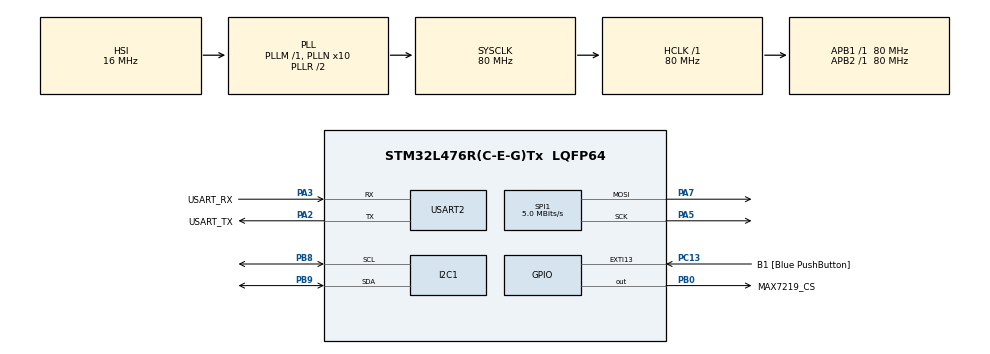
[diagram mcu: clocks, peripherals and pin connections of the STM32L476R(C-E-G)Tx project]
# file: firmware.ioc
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I2C1.Timing=0x10D19CE4
Mcu.Family=STM32L4
Mcu.Name=STM32L476R(C-E-G)Tx
Mcu.Package=LQFP64
NVIC.I2C1_ER_IRQn=true\:0\:0\:false\:false\:true\:true\:true\:true
NVIC.I2C1_EV_IRQn=true\:0\:0\:false\:false\:true\:true\:true\:true
NVIC.PriorityGroup=NVIC_PRIORITYGROUP_4
NVIC.SPI1_IRQn=true\:0\:0\:false\:false\:true\:true\:true\:true
NVIC.USART2_IRQn=true\:0\:0\:false\:false\:true\:true\:true\:true
PA13\ (JTMS-SWDIO).GPIO_Label=TMS
PA13\ (JTMS-SWDIO).Mode=Serial_Wire
PA13\ (JTMS-SWDIO).Signal=SYS_JTMS-SWDIO
PA14\ (JTCK-SWCLK).GPIO_Label=TCK
PA14\ (JTCK-SWCLK).Mode=Serial_Wire
PA14\ (JTCK-SWCLK).Signal=SYS_JTCK-SWCLK
PA2.GPIO_Label=USART_TX
PA2.GPIO_Mode=GPIO_MODE_AF_PP
PA2.GPIO_PuPd=GPIO_NOPULL
PA2.GPIO_Speed=GPIO_SPEED_FREQ_VERY_HIGH
PA2.Mode=Asynchronous
PA2.Signal=USART2_TX
PA3.GPIO_Label=USART_RX
PA3.GPIO_Mode=GPIO_MODE_AF_PP
PA3.GPIO_PuPd=GPIO_NOPULL
PA3.GPIO_Speed=GPIO_SPEED_FREQ_VERY_HIGH
PA3.Mode=Asynchronous
PA3.Signal=USART2_RX
PA5.Mode=TX_Only_Simplex_Unidirect_Master
PA5.Signal=SPI1_SCK
PA7.Mode=TX_Only_Simplex_Unidirect_Master
PA7.Signal=SPI1_MOSI
PB0.GPIO_Label=MAX7219_CS
PB0.PinState=GPIO_PIN_SET
PB0.Signal=GPIO_Output
PB3\ (JTDO-TRACESWO).GPIO_Label=SWO
PB3\ (JTDO-TRACESWO).Signal=SYS_JTDO-SWO
PB8.Mode=I2C
PB8.Signal=I2C1_SCL
PB9.Mode=I2C
PB9.Signal=I2C1_SDA
PC13.GPIO_Label=B1 [Blue PushButton]
PC13.GPIO_ModeDefaultEXTI=GPIO_MODE_IT_FALLING
PC13.GPIO_PuPd=GPIO_NOPULL
PC13.Signal=GPXTI13
PC14-OSC32_IN\ (PC14).Mode=LSE-External-Oscillator
PC14-OSC32_IN\ (PC14).Signal=RCC_OSC32_IN
PC15-OSC32_OUT\ (PC15).Mode=LSE-External-Oscillator
PC15-OSC32_OUT\ (PC15).Signal=RCC_OSC32_OUT
PH0-OSC_IN\ (PH0).Signal=RCC_OSC_IN
PH1-OSC_OUT\ (PH1).Signal=RCC_OSC_OUT
ProjectManager.HeapSize=0x200
ProjectManager.StackSize=0x400
ProjectManager.TargetToolchain=STM32CubeIDE
RCC.ADCFreq_Value=64000000
RCC.AHBFreq_Value=80000000
RCC.APB1Freq_Value=80000000
RCC.APB1TimFreq_Value=80000000
RCC.APB2Freq_Value=80000000
RCC.APB2TimFreq_Value=80000000
RCC.CortexFreq_Value=80000000
RCC.HCLKFreq_Value=80000000
RCC.HSE_VALUE=8000000
RCC.HSI_VALUE=16000000
RCC.MSI_VALUE=4000000
RCC.PLLN=10
RCC.PLLSourceVirtual=RCC_PLLSOURCE_HSI
RCC.PREFETCH_ENABLE=1
RCC.SYSCLKFreq_VALUE=80000000
RCC.SYSCLKSource=RCC_SYSCLKSOURCE_PLLCLK
RCC.USBFreq_Value=64000000
RCC.VCOOutputFreq_Value=160000000
SPI1.BaudRatePrescaler=SPI_BAUDRATEPRESCALER_16
SPI1.CalculateBaudRate=5.0 MBits/s
SPI1.Direction=SPI_DIRECTION_2LINES
SPI1.Mode=SPI_MODE_MASTER
SPI1.VirtualType=VM_MASTER
USART2.VirtualMode-Asynchronous=VM_ASYNC
board=NUCLEO-L476RG

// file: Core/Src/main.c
/* USER CODE BEGIN Header */
/**
  ******************************************************************************
  * @file           : main.c
  * @brief          : Main program body
  ******************************************************************************
  * @attention
  *
  * Copyright (c) 2026 STMicroelectronics.
  * All rights reserved.
  *
  * This software is licensed under terms that can be found in the LICENSE file
  * in the root directory of this software component.
  * If no LICENSE file comes with this software, it is provided AS-IS.
  *
  ******************************************************************************
  */
/* USER CODE END Header */
#include "main.h"

/* USER CODE BEGIN Includes */
#include <stdio.h>
#include <stdlib.h>
#include <string.h>
/* USER CODE END Includes */

I2C_HandleTypeDef hi2c1;

SPI_HandleTypeDef hspi1;

UART_HandleTypeDef huart2;

/* USER CODE BEGIN PV */
PCF8591_HandleTypeDef hpcf;
MAX7219_HandleTypeDef hmax;

DisplayMode_t current_mode = MODE_IDLE;
uint8_t current_sensor_value = 0;
uint32_t last_toggle_tick = 0;
uint8_t toggle_state = 0; // 0 = Display Letter, 1 = Display Sign (+/-)

uint8_t rx_byte = 0;
char rx_buffer[64];
uint8_t rx_index = 0;
/* USER CODE END PV */

void SystemClock_Config(void);
static void MX_GPIO_Init(void);
static void MX_USART2_UART_Init(void);
static void MX_I2C1_Init(void);
static void MX_SPI1_Init(void);

int main(void)
{

  /* MCU Configuration--------------------------------------------------------*/

  /* Reset of all peripherals, Initializes the Flash interface and the Systick. */
  HAL_Init();

  /* Configure the system clock */
  SystemClock_Config();

  /* Initialize all configured peripherals */
  MX_GPIO_Init();
  MX_USART2_UART_Init();
  MX_I2C1_Init();
  MX_SPI1_Init();
  /* USER CODE BEGIN 2 */
  PCF8591_Init(&hpcf, &hi2c1);
  MAX7219_Init(&hmax, &hspi1, MAX7219_CS_GPIO_Port, MAX7219_CS_Pin);

  // Start UART non-blocking receive
  HAL_UART_Receive_IT(&huart2, &rx_byte, 1);

  last_toggle_tick = HAL_GetTick();
  /* USER CODE END 2 */

  /* Infinite loop */
  /* USER CODE BEGIN WHILE */
  while (1)
  {
    // Alternates the display character every 500 ms in a non-blocking way
    if (current_mode != MODE_IDLE) {
        uint32_t current_tick = HAL_GetTick();
        if (current_tick - last_toggle_tick >= 500) {
            last_toggle_tick = current_tick;
            toggle_state = !toggle_state;
            Update_Display_State();
        }
    }
    /* USER CODE END WHILE */

  }
}

void SystemClock_Config(void)
{
  RCC_OscInitTypeDef RCC_OscInitStruct = {0};
  RCC_ClkInitTypeDef RCC_ClkInitStruct = {0};

  /** Configure the main internal regulator output voltage
  */
  if (HAL_PWREx_ControlVoltageScaling(PWR_REGULATOR_VOLTAGE_SCALE1) != HAL_OK)
  {
    Error_Handler();
  }

  /** Initializes the RCC Oscillators according to the specified parameters
  * in the RCC_OscInitTypeDef structure.
  */
  RCC_OscInitStruct.OscillatorType = RCC_OSCILLATORTYPE_HSI;
  RCC_OscInitStruct.HSIState = RCC_HSI_ON;
  RCC_OscInitStruct.HSICalibrationValue = RCC_HSICALIBRATION_DEFAULT;
  RCC_OscInitStruct.PLL.PLLState = RCC_PLL_ON;
  RCC_OscInitStruct.PLL.PLLSource = RCC_PLLSOURCE_HSI;
  RCC_OscInitStruct.PLL.PLLM = 1;
  RCC_OscInitStruct.PLL.PLLN = 10;
  RCC_OscInitStruct.PLL.PLLP = RCC_PLLP_DIV7;
  RCC_OscInitStruct.PLL.PLLQ = RCC_PLLQ_DIV2;
  RCC_OscInitStruct.PLL.PLLR = RCC_PLLR_DIV2;
  if (HAL_RCC_OscConfig(&RCC_OscInitStruct) != HAL_OK)
  {
    Error_Handler();
  }

  /** Initializes the CPU, AHB and APB buses clocks
  */
  RCC_ClkInitStruct.ClockType = RCC_CLOCKTYPE_HCLK|RCC_CLOCKTYPE_SYSCLK
                              |RCC_CLOCKTYPE_PCLK1|RCC_CLOCKTYPE_PCLK2;
  RCC_ClkInitStruct.SYSCLKSource = RCC_SYSCLKSOURCE_PLLCLK;
  RCC_ClkInitStruct.AHBCLKDivider = RCC_SYSCLK_DIV1;
  RCC_ClkInitStruct.APB1CLKDivider = RCC_HCLK_DIV1;
  RCC_ClkInitStruct.APB2CLKDivider = RCC_HCLK_DIV1;

  if (HAL_RCC_ClockConfig(&RCC_ClkInitStruct, FLASH_LATENCY_4) != HAL_OK)
  {
    Error_Handler();
  }
}

static void MX_I2C1_Init(void)
{

  hi2c1.Instance = I2C1;
  hi2c1.Init.Timing = 0x10D19CE4;
  hi2c1.Init.OwnAddress1 = 0;
  hi2c1.Init.AddressingMode = I2C_ADDRESSINGMODE_7BIT;
  hi2c1.Init.DualAddressMode = I2C_DUALADDRESS_DISABLE;
  hi2c1.Init.OwnAddress2 = 0;
  hi2c1.Init.OwnAddress2Masks = I2C_OA2_NOMASK;
  hi2c1.Init.GeneralCallMode = I2C_GENERALCALL_DISABLE;
  hi2c1.Init.NoStretchMode = I2C_NOSTRETCH_DISABLE;
  if (HAL_I2C_Init(&hi2c1) != HAL_OK)
  {
    Error_Handler();
  }

  /** Configure Analogue filter
  */
  if (HAL_I2CEx_ConfigAnalogFilter(&hi2c1, I2C_ANALOGFILTER_ENABLE) != HAL_OK)
  {
    Error_Handler();
  }

  /** Configure Digital filter
  */
  if (HAL_I2CEx_ConfigDigitalFilter(&hi2c1, 0) != HAL_OK)
  {
    Error_Handler();
  }

}

static void MX_SPI1_Init(void)
{

  /* SPI1 parameter configuration*/
  hspi1.Instance = SPI1;
  hspi1.Init.Mode = SPI_MODE_MASTER;
  hspi1.Init.Direction = SPI_DIRECTION_2LINES;
  hspi1.Init.DataSize = SPI_DATASIZE_8BIT;
  hspi1.Init.CLKPolarity = SPI_POLARITY_LOW;
  hspi1.Init.CLKPhase = SPI_PHASE_1EDGE;
  hspi1.Init.NSS = SPI_NSS_SOFT;
  hspi1.Init.BaudRatePrescaler = SPI_BAUDRATEPRESCALER_16;
  hspi1.Init.FirstBit = SPI_FIRSTBIT_MSB;
  hspi1.Init.TIMode = SPI_TIMODE_DISABLE;
  hspi1.Init.CRCCalculation = SPI_CRCCALCULATION_DISABLE;
  hspi1.Init.CRCPolynomial = 7;
  hspi1.Init.CRCLength = SPI_CRC_LENGTH_DATASIZE;
  hspi1.Init.NSSPMode = SPI_NSS_PULSE_ENABLE;
  if (HAL_SPI_Init(&hspi1) != HAL_OK)
  {
    Error_Handler();
  }

}

static void MX_USART2_UART_Init(void)
{

  huart2.Instance = USART2;
  huart2.Init.BaudRate = 115200;
  huart2.Init.WordLength = UART_WORDLENGTH_8B;
  huart2.Init.StopBits = UART_STOPBITS_1;
  huart2.Init.Parity = UART_PARITY_NONE;
  huart2.Init.Mode = UART_MODE_TX_RX;
  huart2.Init.HwFlowCtl = UART_HWCONTROL_NONE;
  huart2.Init.OverSampling = UART_OVERSAMPLING_16;
  huart2.Init.OneBitSampling = UART_ONE_BIT_SAMPLE_DISABLE;
  huart2.AdvancedInit.AdvFeatureInit = UART_ADVFEATURE_NO_INIT;
  if (HAL_UART_Init(&huart2) != HAL_OK)
  {
    Error_Handler();
  }

}

static void MX_GPIO_Init(void)
{
  GPIO_InitTypeDef GPIO_InitStruct = {0};

  /* GPIO Ports Clock Enable */
  __HAL_RCC_GPIOC_CLK_ENABLE();
  __HAL_RCC_GPIOH_CLK_ENABLE();
  __HAL_RCC_GPIOA_CLK_ENABLE();
  __HAL_RCC_GPIOB_CLK_ENABLE();

  /*Configure GPIO pin Output Level */
  HAL_GPIO_WritePin(MAX7219_CS_GPIO_Port, MAX7219_CS_Pin, GPIO_PIN_SET);

  /*Configure GPIO pin : B1_Pin */
  GPIO_InitStruct.Pin = B1_Pin;
  GPIO_InitStruct.Mode = GPIO_MODE_IT_FALLING;
  GPIO_InitStruct.Pull = GPIO_NOPULL;
  HAL_GPIO_Init(B1_GPIO_Port, &GPIO_InitStruct);

  /*Configure GPIO pin : MAX7219_CS_Pin */
  GPIO_InitStruct.Pin = MAX7219_CS_Pin;
  GPIO_InitStruct.Mode = GPIO_MODE_OUTPUT_PP;
  GPIO_InitStruct.Pull = GPIO_NOPULL;
  GPIO_InitStruct.Speed = GPIO_SPEED_FREQ_LOW;
  HAL_GPIO_Init(MAX7219_CS_GPIO_Port, &GPIO_InitStruct);

}

/* USER CODE BEGIN 4 */
#include "fonts.h"

void Process_Command(const char *cmd_str) {
    static char tx_msg[64];

    // Command: Set_DAC_<valor>
    if (strncmp(cmd_str, "Set_DAC_", 8) == 0) {
        int val = atoi(cmd_str + 8);
        if (val >= 0 && val <= 255) {
            PCF8591_WriteDAC_IT(&hpcf, (uint8_t)val);
            sprintf(tx_msg, "DAC set to %d\r\n", val);
            HAL_UART_Transmit_IT(&huart2, (uint8_t*)tx_msg, strlen(tx_msg));
        } else {
            char *err = "Error: DAC value must be 0-255\r\n";
            HAL_UART_Transmit_IT(&huart2, (uint8_t*)err, strlen(err));
        }
        return;
    }

    // Command: Temp or Read_AIN1
    if (strcmp(cmd_str, "Temp") == 0 || strcmp(cmd_str, "Read_AIN1") == 0) {
        current_mode = MODE_TEMP;
        PCF8591_ReadChannel_IT(&hpcf, PCF8591_CHANNEL_AIN1);
        return;
    }

    // Command: Volt or Read_AIN3
    if (strcmp(cmd_str, "Volt") == 0 || strcmp(cmd_str, "Read_AIN3") == 0) {
        current_mode = MODE_VOLT;
        PCF8591_ReadChannel_IT(&hpcf, PCF8591_CHANNEL_AIN3);
        return;
    }

    // Command: LDR or Read_AIN0
    if (strcmp(cmd_str, "LDR") == 0 || strcmp(cmd_str, "Read_AIN0") == 0) {
        current_mode = MODE_LDR;
        PCF8591_ReadChannel_IT(&hpcf, PCF8591_CHANNEL_AIN0);
        return;
    }

    // Unknown command
    int len = strlen(cmd_str);
    char hex_str[64] = "";
    for (int i = 0; i < len && i < 10; i++) {
        sprintf(hex_str + strlen(hex_str), "%02X ", (unsigned char)cmd_str[i]);
    }
    sprintf(tx_msg, "Unknown command: %s (len=%d, hex: %s)\r\n", cmd_str, len, hex_str);
    HAL_UART_Transmit_IT(&huart2, (uint8_t*)tx_msg, strlen(tx_msg));
}

void Update_Display_State(void) {
    const uint8_t *pattern = NULL;

    if (toggle_state == 0) {
        // Display character (T, V, or L)
        switch (current_mode) {
            case MODE_TEMP: pattern = font_T; break;
            case MODE_VOLT: pattern = font_V; break;
            case MODE_LDR:  pattern = font_L; break;
            default: break;
        }
    } else {
        // Display sign (+ or -) based on sensor value
        if (current_sensor_value < 128) {
            pattern = font_minus;
        } else {
            pattern = font_plus;
        }
    }

    if (pattern != NULL) {
        MAX7219_DisplayPattern_IT(&hmax, pattern);
    }
}

/* HAL Interrupt Callback Implementations */

void HAL_UART_RxCpltCallback(UART_HandleTypeDef *huart) {
    if (huart->Instance == USART2) {
        if (rx_byte == '\n' || rx_byte == '\r') {
            if (rx_index > 0) {
                rx_buffer[rx_index] = '\0';
                Process_Command(rx_buffer);
                rx_index = 0;
            }
        } else if (rx_byte >= 32 && rx_byte <= 126) {
            if (rx_index < sizeof(rx_buffer) - 1) {
                rx_buffer[rx_index++] = (char)rx_byte;
            } else {
                rx_index = 0;
            }
        }
        HAL_UART_Receive_IT(&huart2, &rx_byte, 1);
    }
}

void HAL_I2C_MasterRxCpltCallback(I2C_HandleTypeDef *hi2c) {
    if (hi2c->Instance == I2C1) {
        PCF8591_RxCpltCallback(&hpcf, &current_sensor_value);

        // Output value to Virtual Terminal (USART2)
        static char tx_msg[64];
        sprintf(tx_msg, "Value read: %d\r\n", current_sensor_value);
        HAL_UART_Transmit_IT(&huart2, (uint8_t*)tx_msg, strlen(tx_msg));

        // Immediately refresh display starting with the letter
        toggle_state = 0;
        Update_Display_State();
    }
}

void HAL_I2C_MasterTxCpltCallback(I2C_HandleTypeDef *hi2c) {
    if (hi2c->Instance == I2C1) {
        PCF8591_TxCpltCallback(&hpcf);
    }
}

void HAL_SPI_TxCpltCallback(SPI_HandleTypeDef *hspi) {
    if (hspi->Instance == SPI1) {
        MAX7219_TxCpltCallback(&hmax);
    }
}
/* USER CODE END 4 */

void Error_Handler(void)
{
  __disable_irq();
  while (1)
  {
  }
}
